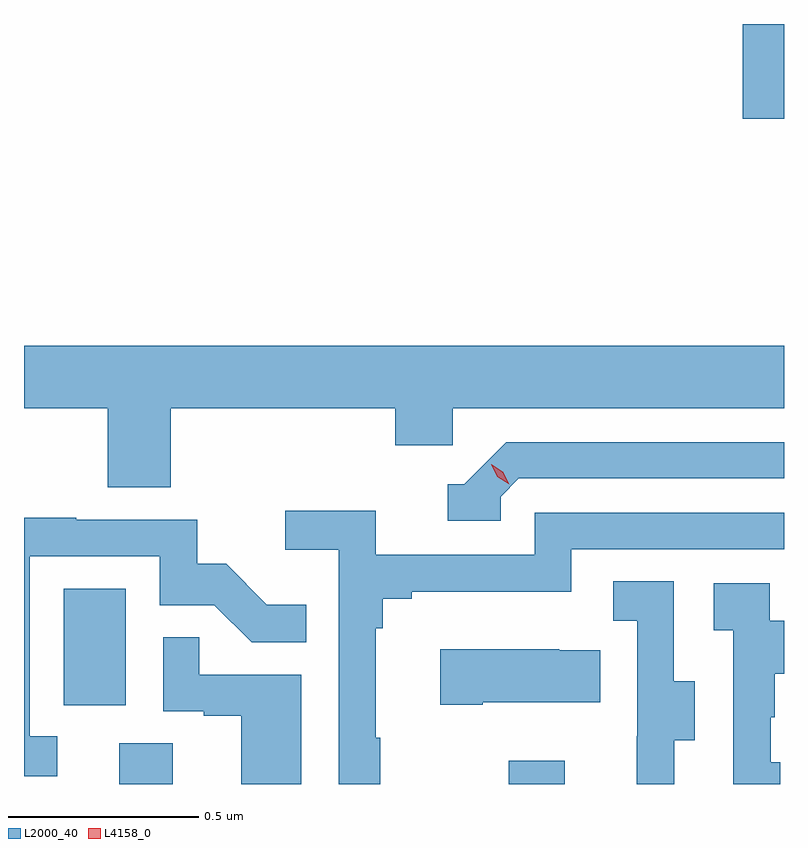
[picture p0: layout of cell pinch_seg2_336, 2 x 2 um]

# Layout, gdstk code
import gdstk
lib = gdstk.Library(unit=1e-6, precision=1e-09)
def R(c, l, rs):  # rectangles x0, y0, x1, y1
    for r in rs: c.add(gdstk.rectangle(r[:2], r[2:], *l))
def P(c, l, *ps):  # polygons
    for p in ps: c.add(gdstk.Polygon(p, *l))
L2000_40 = (2000, 40)
L4158_0 = (4158, 0)

pinch_seg2_336 = lib.new_cell('pinch_seg2_336')
R(pinch_seg2_336, L2000_40, [(999.743,638.655,999.883,638.762), (1000.768,638.655,1000.915,638.716), (999.596,638.862,999.76,639.169), (1001.384,640.406,1001.492,640.655)])
P(pinch_seg2_336, L2000_40, [(999.878,639.644),(1000.469,639.644),(1000.469,639.546),(1000.62,639.546),(1000.62,639.644),(1001.492,639.644),(1001.492,639.808),(999.492,639.808),(999.492,639.644),(999.713,639.644),(999.713,639.436),(999.878,639.436)],
  [(1000.746,639.411),(1000.794,639.459),(1001.492,639.459),(1001.492,639.555),(1000.761,639.555),(1000.65,639.444),(1000.607,639.444),(1000.607,639.348),(1000.746,639.348)],
  [(1000.429,638.777),(1000.417,638.777),(1000.417,639.065),(1000.436,639.065),(1000.436,639.142),(1000.513,639.142),(1000.513,639.161),(1000.932,639.161),(1000.932,639.273),(1001.492,639.273),(1001.492,639.369),(1000.836,639.369),(1000.836,639.258),(1000.418,639.258),(1000.418,639.374),(1000.179,639.374),(1000.179,639.272),(1000.32,639.272),(1000.32,638.655),(1000.429,638.655)],
  [(999.58,638.781),(999.507,638.781),(999.507,639.255),(999.849,639.255),(999.849,639.126),(999.993,639.126),(1000.091,639.028),(1000.235,639.028),(1000.235,639.127),(1000.131,639.127),(1000.024,639.234),(999.948,639.234),(999.948,639.351),(999.629,639.351),(999.629,639.356),(999.492,639.356),(999.492,638.676),(999.58,638.676)],
  [(1001.203,638.77),(1001.257,638.77),(1001.257,638.925),(1001.202,638.925),(1001.202,639.188),(1001.043,639.188),(1001.043,639.085),(1001.106,639.085),(1001.106,638.781),(1001.105,638.781),(1001.105,638.655),(1001.203,638.655)],
  [(1001.482,638.712),(1001.457,638.712),(1001.457,638.831),(1001.467,638.831),(1001.467,638.945),(1001.492,638.945),(1001.492,639.085),(1001.454,639.085),(1001.454,639.183),(1001.307,639.183),(1001.307,639.059),(1001.358,639.059),(1001.358,638.655),(1001.482,638.655)],
  [(1000.222,638.943),(999.953,638.943),(999.953,639.041),(999.858,639.041),(999.858,638.847),(999.965,638.847),(999.965,638.835),(1000.064,638.835),(1000.064,638.655),(1000.222,638.655)],
  [(1000.699,638.87),(1001.009,638.87),(1001.009,639.007),(1000.901,639.007),(1000.901,639.01),(1000.587,639.01),(1000.587,638.863),(1000.699,638.863)])
P(pinch_seg2_336, L4158_0, [(1000.769,639.444),(1000.738,639.463),(1000.721,639.495),(1000.721,639.496),(1000.721,639.496),(1000.752,639.477),(1000.769,639.444),(1000.769,639.444)])

lib.write_gds('pinch_seg2_336.gds')
